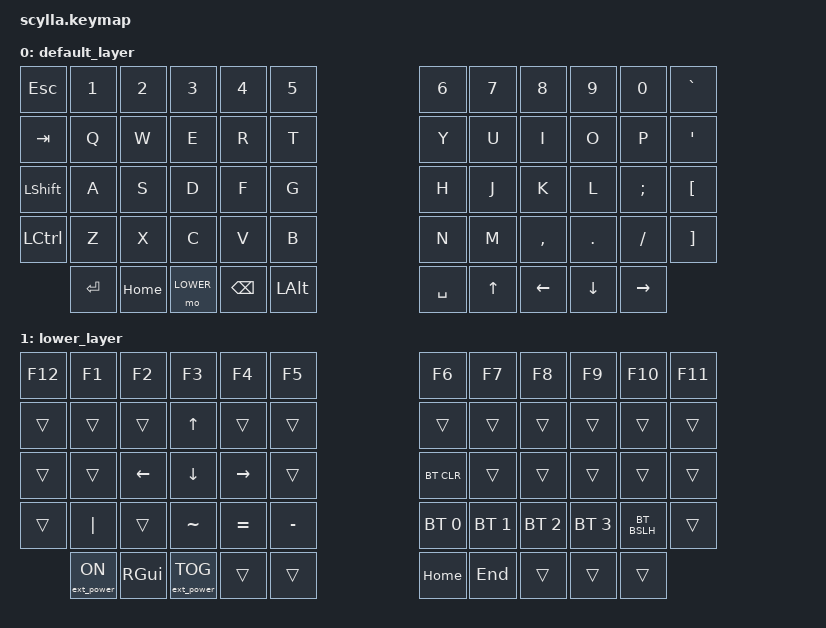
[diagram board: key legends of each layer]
#include <behaviors.dtsi>
#include <dt-bindings/zmk/keys.h>
#include <dt-bindings/zmk/bt.h>
#include <dt-bindings/zmk/outputs.h>
#include <dt-bindings/zmk/mouse.h>
#include <dt-bindings/zmk/ext_power.h>

#define DEFAULT 0
#define LOWER 1
#define RAISE 2

/ {
    keymap {
        compatible = "zmk,keymap";

        default_layer {
// ------------------------------------------------------------------------------------------------------------
// |  ESC  |  1  |  2  |  3   |  4   |  5   |                   |  6   |  7    |  8    |  9   |   0   |  GRAVE |
// |  TAB  |  Q  |  W  |  E   |  R   |  T   |                   |  Y   |  U    |  I    |  O   |   P   |   '   |
// | SHIFT |  A  |  S  |  D   |  F   |  G   |                   |  H   |  J    |  K    |  L   |   ;   |   LBKT   |
// | CTRL  |  Z  |  X  |  C   |  V   |  B   |                   |  N   |  M    |  ,    |  .   |   /   |   RBKT   |
//                     | ENTER| BKSP | LALT |                   | SPACE|  UP   | RIGHT |
//                            | HOME | LOWER|                   | LEFT | DOWN  |
            bindings = <
                &kp ESC     &kp N1    &kp N2   &kp N3    &kp N4    &kp N5                    &kp N6    &kp N7   &kp N8    &kp N9    &kp N0   &kp GRAVE
                &kp TAB     &kp Q     &kp W    &kp E     &kp R     &kp T                     &kp Y     &kp U    &kp I     &kp O     &kp P    &kp SQT
                &kp LSHFT   &kp A     &kp S    &kp D     &kp F     &kp G                     &kp H     &kp J    &kp K     &kp L     &kp SEMI &kp LBKT
                &kp LCTRL   &kp Z     &kp X    &kp C     &kp V     &kp B                     &kp N     &kp M    &kp COMMA &kp DOT   &kp FSLH &kp RBKT
                            &kp ENTER &kp HOME &mo LOWER &kp BSPC  &kp LALT                  &kp SPACE  &kp UP   &kp LEFT  &kp DOWN  &kp RIGHT
            >;
        };

        lower_layer {
            bindings = <
                &kp F12     &kp F1       &kp F2       &kp F3        &kp F4       &kp F5                 &kp F6  &kp F7  &kp F8  &kp F9  &kp F10 &kp F11
                &trans      &trans       &trans       &kp UP        &trans       &trans                 &trans  &trans  &trans  &trans  &trans  &trans
                &trans      &trans       &kp LEFT     &kp DOWN      &kp RIGHT    &trans                 &bt BT_CLR  &trans  &trans  &trans  &trans  &trans
                &trans      &kp PIPE     &trans       &kp TILDE     &kp EQUAL    &kp MINUS              &bt BT_SEL 0  &bt BT_SEL 1  &bt BT_SEL 2  &bt BT_SEL 3  &bt BSLH &trans
                            &ext_power EP_ON &kp RGUI &ext_power EP_TOG &trans   &trans                 &kp HOME &kp END  &trans  &trans  &trans
            >;
        };
    };
};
